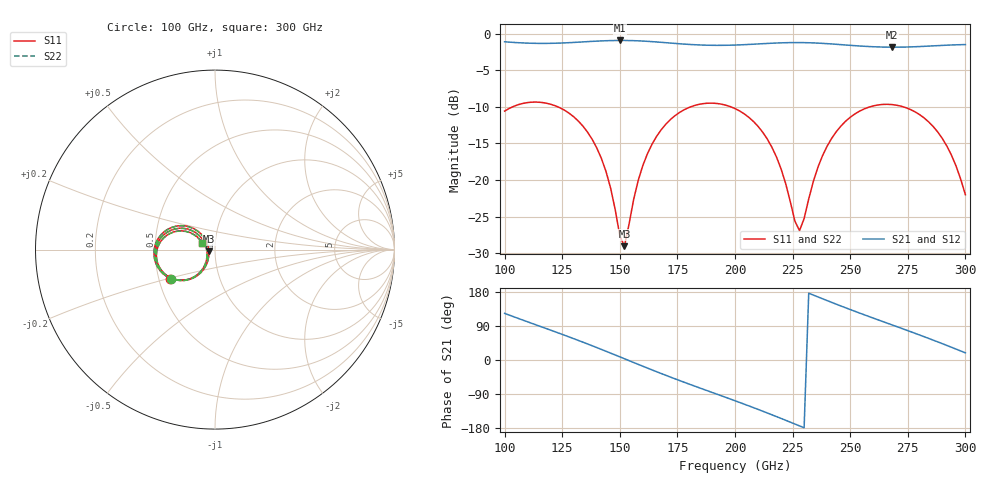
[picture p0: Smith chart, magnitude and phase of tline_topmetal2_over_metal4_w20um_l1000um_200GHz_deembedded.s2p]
! Created with skrf 2.2.0 (http://scikit-rf.org).
# GHz S DB R 50.0
! Port[1] = P1
! Port[2] = P2
!freq dBS11 angS11 dBS21 angS21 dBS12 angS12 dBS22 angS22
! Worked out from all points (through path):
!   101 points, 100 GHz to 300 GHz, reference 50 ohm
!   highest |S21| = -0.92 dB at 150 GHz (marker M1); lowest = -1.8 dB at 268 GHz (marker M2)
!   group delay of S21, straight-line fit = 6.47 ps
!   lowest |S11| = -29.0 dB at 152 GHz (marker M3), VSWR 1.07, Z = 46.7 - j0.88 ohm
!   |S11| at or under -10 dB: 123.1 GHz to 180.7 GHz (57.61 GHz wide, 37.9 % of centre); 198.2 GHz to 258.5 GHz (60.27 GHz wide, 26.4 % of centre); 273.1 GHz to end of sweep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
!   |S22| runs from -28.8 to -9.3 dB; largest |S21 - S12| = 1.5e-13
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100  -10.57 -147.0  -1.10 123.1  -1.10 123.1  -10.57 -146.8
108  -9.52 -163.4  -1.26 105.1  -1.26 105.1  -9.52 -163.2
118  -9.49 176.5  -1.32 83.1  -1.32 83.1  -9.48 176.7
134  -12.63 145.1  -1.12 47.0  -1.12 47.0  -12.62 145.5
144  -18.82 131.5  -0.96 23.1  -0.96 23.1  -18.78 132.1
150  -27.59 156.2  -0.92 8.3  -0.92 8.3  -27.42 157.0
152  -29.03 -164.6  -0.92 3.3  -0.92 3.3  -28.81 -164.7
160  -18.01 -119.8  -1.01 -16.4  -1.01 -16.4  -17.99 -120.0
168  -13.11 -130.9  -1.18 -35.7  -1.18 -35.7  -13.10 -131.0
184  -9.68 -161.7  -1.53 -72.2  -1.53 -72.2  -9.67 -161.6
200  -10.23 167.5  -1.55 -107.5  -1.55 -107.5  -10.22 167.7
216  -15.50 140.5  -1.30 -144.5  -1.30 -144.5  -15.49 140.9
228  -26.90 -169.9  -1.21 -173.9  -1.21 -173.9  -26.72 -169.5
234  -20.19 -123.7  -1.26 171.3  -1.26 171.3  -20.14 -123.9
240  -15.36 -125.1  -1.36 156.7  -1.36 156.7  -15.34 -125.1
248  -11.96 -137.4  -1.54 137.8  -1.54 137.8  -11.95 -137.4
258  -10.05 -155.8  -1.75 115.1  -1.75 115.1  -10.04 -155.6
268  -9.68 -174.5  -1.84 93.0  -1.84 93.0  -9.67 -174.3
278  -10.65 167.2  -1.78 70.8  -1.78 70.8  -10.64 167.5
288  -13.43 150.6  -1.63 47.8  -1.63 47.8  -13.42 151.0
294  -16.63 144.4  -1.54 33.5  -1.54 33.5  -16.61 144.9
300  -22.00 152.8  -1.49 18.9  -1.49 18.9  -21.93 153.4
